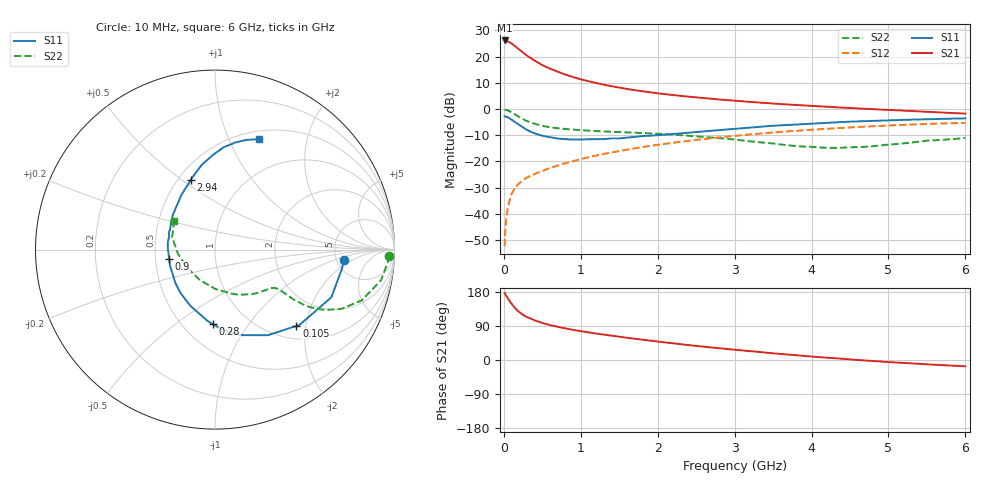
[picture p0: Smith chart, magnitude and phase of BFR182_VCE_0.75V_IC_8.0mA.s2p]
! Infineon Technologies  Discrete & RF Semiconductors
! BFR182
! VCE = 0.75 V,  IC =  8.0 mA
! Common Emitter S-Parameters:  Nov 2015
# GHz  S  MA  R  50
!  f  S11  S21  S12  S22
! GHz  MAG  ANG  MAG  ANG  MAG  ANG  MAG  ANG
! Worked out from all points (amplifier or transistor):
!   210 points, 10 MHz to 6 GHz, reference 50 ohm
!   highest |S21| = 26.2 dB at 10 MHz (marker M1)
!   |S21| within 3 dB of that: start of sweep to 180.3 MHz
!   unconditionally stable (mu >= 1): 700.3 MHz to 3.186 GHz
!   at 185 MHz: K = 0.48, MSG = 25.9 dB, |S12| = -28.8 dB
!   at 1.52 GHz: K = 1.09, MAG = 10.1 dB, |S12| = -15.9 dB
!   at 6 GHz: K = 0.95, MSG = 1.8 dB, |S12| = -5.3 dB
!   S11 on the Smith chart (normalised r, x): 10 MHz: 5.83, -1.41; 105 MHz: 1.28, -1.77; 280 MHz: 0.69, -0.70; 900 MHz: 0.59, -0.07; 2.94 GHz: 0.58, +0.54; 6 GHz: 0.59, +1.30
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0.01  0.7214 -4.6  20.31 176.7  0.0024 90.7  0.9709 -2.1
0.05  0.7007 -22.3  19.68 163.1  0.0125 79.7  0.9405 -10.5
0.1  0.6307 -41.7  17.86 148.3  0.0236 70.6  0.865 -19.1
0.105  0.6216 -43.2  17.6 147.2  0.0244 70.0  0.8561 -19.6
0.15  0.5605 -58.3  15.61 135.7  0.0319 66.1  0.7794 -25.0
0.16  0.5451 -61.0  15.19 134.0  0.0331 65.3  0.7636 -25.7
0.2  0.4974 -73.3  13.66 126.4  0.0381 62.8  0.7016 -28.7
0.24  0.4529 -82.9  12.22 120.5  0.0428 61.3  0.6488 -30.3
0.28  0.4158 -91.5  11.02 115.6  0.0469 60.6  0.6078 -31.4
0.3  0.3997 -95.9  10.46 113.2  0.0489 60.3  0.5893 -31.8
0.4  0.3424 -113.6  8.372 104.6  0.0573 60.1  0.5218 -32.4
0.5  0.3086 -128.6  6.879 97.5  0.0652 61.1  0.4754 -32.2
0.7  0.2723 -150.2  5.124 87.4  0.0829 62.5  0.4277 -32.0
0.9  0.26 -168.4  4.048 79.4  0.1009 63.0  0.4029 -32.4
1.02  0.2612 -178.5  3.62 75.4  0.1122 63.2  0.3917 -33.1
1.4  0.2745 159.6  2.711 64.2  0.1477 62.4  0.3676 -36.9
2.02  0.3179 133.8  1.972 48.2  0.2085 58.4  0.3355 -46.4
2.94  0.4103 109.3  1.459 28.2  0.3003 49.6  0.2656 -68.0
3.1  0.4285 106.1  1.399 25.2  0.3157 47.7  0.2504 -73.2
4.1  0.5351 90.1  1.122 7.7  0.4101 35.8  0.1842 -122.6
5.1  0.6138 78.0  0.944 -6.6  0.4909 23.2  0.2137 -179.1
6  0.6623 68.2  0.814 -16.8  0.5425 10.8  0.2787 144.7
